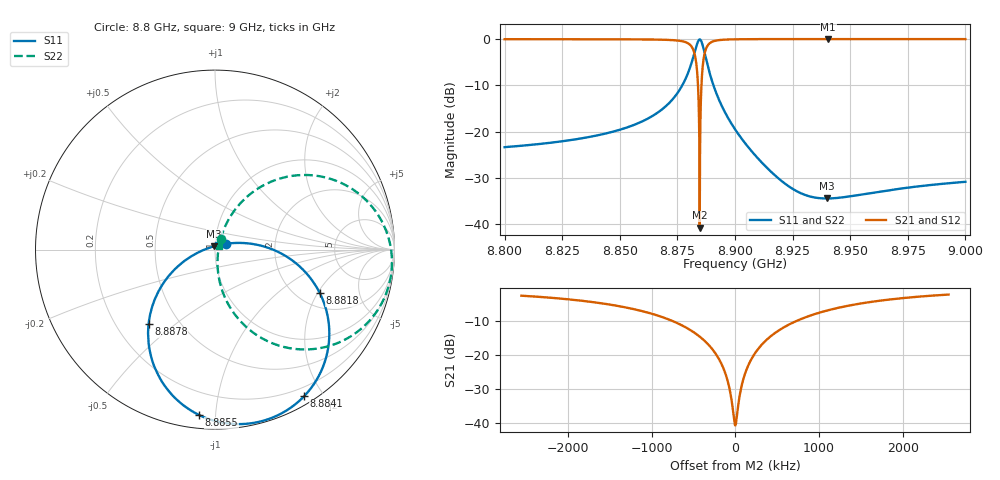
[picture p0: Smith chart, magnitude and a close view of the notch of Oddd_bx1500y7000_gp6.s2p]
! Sonnet Data File
! From: emgraph Version : 16.52
! From Emgraph Data: Resonator2
! Data File Written: 10/04/2017 20:23:38
!< HDATE 10/04/2017 19:58:20
!< MDATE 10/04/2017 19:59:40
!< PARAMS
!< gap = 6.0
!< Length = 400.0
!< Pwid1 = 1500.0
!< END PARAMS
# GHZ S MA R 35.46000
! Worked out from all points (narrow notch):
!   1596 points, 8.8 GHz to 9 GHz, reference 35.46 ohm
!   highest |S21| = 0.00 dB at 8.9404 GHz (marker M1); lowest = -40.7 dB at 8.8847 GHz (marker M2)
!   notch at M2: 40.7 dB deep, 430 kHz wide at half that depth
!   lowest |S11| = -34.4 dB at 8.9398 GHz (marker M3), VSWR 1.04, Z = 35.1 + j1.28 ohm
!   |S11| at or under -10 dB: start of sweep to 8.8771 GHz; 8.8907 GHz to end of sweep
!   |S22| runs from -34.4 to -0.1 dB; largest |S21 - S12| = 0
!   S11 on the Smith chart (normalised r, x): 8.8 GHz: 1.13, +0.07; 8.8818 GHz: 2.59, -2.10; 8.8841 GHz: 0.09, -1.77; 8.8855 GHz: 0.07, -0.91; 8.8878 GHz: 0.34, -0.41; 9 GHz: 1.03, +0.05
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8.8  0.06807 28.2  0.9977 -44.5  0.9977 -44.5  0.06808 62.7
!< P1 F=8.8 Eeff=(6.54088809 -2.9347e-5) Z0=(35.4525268 7.805e-5) R=0.0 C=0.0
!< P2 F=8.8 Eeff=(6.54088809 -2.9347e-5) Z0=(35.4525268 7.805e-5) R=0.0 C=0.0
8.8334  0.08475 23.9  0.9964 -45.7  0.9964 -45.7  0.08476 64.7
8.8668  0.163 13.0  0.9865 -50.4  0.9865 -50.4  0.1631 66.1
8.877189  0.319 0.3  0.947 -59.7  0.947 -59.7  0.3191 60.1
8.881849  0.633 -22.6  0.7697 -80.4  0.7697 -80.4  0.6332 41.0
8.883196  0.8312 -40.5  0.5448 -97.4  0.5448 -97.4  0.8315 24.3
8.884076  0.9561 -58.7  0.2629 -114.0  0.2629 -114.0  0.9564 6.9
8.884484  0.9865 -68.8  0.09329 -120.3  0.09329 -120.3  0.9868 -2.8
8.884696  0.9907 -74.3  0.009201 -35.6  0.009201 -35.6  0.991 -8.1
8.884821  0.989 -77.6  0.05733 36.4  0.05733 36.4  0.9894 -11.2
8.885002  0.9813 -82.3  0.137 37.1  0.137 37.1  0.9816 -15.8
8.885536  0.9256 -95.5  0.3558 26.6  0.3558 26.6  0.9259 -28.5
8.886415  0.7769 -113.4  0.6199 9.8  0.6199 9.8  0.7772 -45.5
8.887821  0.5559 -131.7  0.8273 -7.4  0.8273 -7.4  0.5561 -62.3
8.8914  0.2804 -151.5  0.9589 -24.9  0.9589 -24.9  0.2805 -77.9
8.9  0.1064 -168.4  0.9941 -35.2  0.9941 -35.2  0.1064 -81.8
8.914495  0.03934 168.9  0.9992 -39.3  0.9992 -39.3  0.03938 -67.4
8.9334  0.01974 121.7  0.9998 -41.1  0.9998 -41.1  0.01977 -23.8
8.9398  0.019 105.7  0.9998 -41.4  0.9998 -41.4  0.01903 -8.5
8.9404  0.01901 104.3  0.9998 -41.4  0.9998 -41.4  0.01904 -7.2
8.9668  0.02332 69.5  0.9997 -42.3  0.9997 -42.3  0.02333 25.9
9  0.02876 55.8  0.9996 -42.9  0.9996 -42.9  0.02877 38.4
